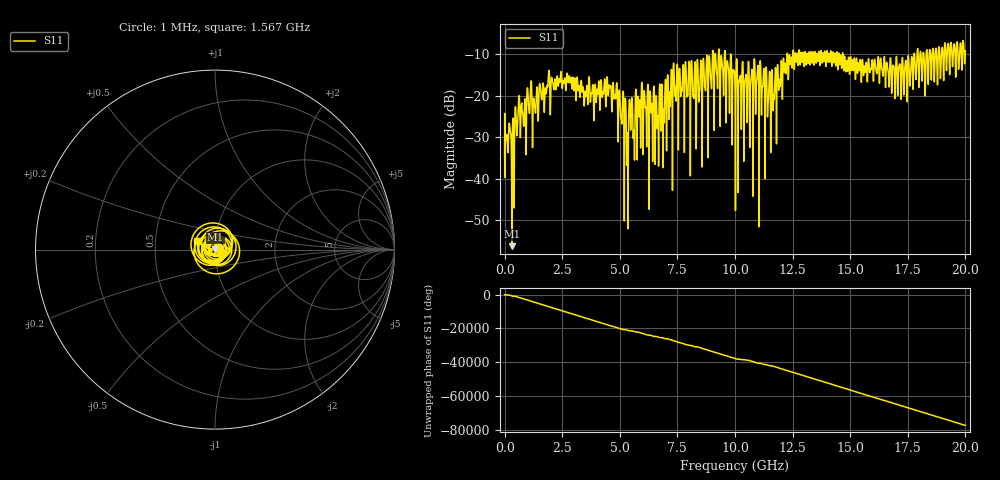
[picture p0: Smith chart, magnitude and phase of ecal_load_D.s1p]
! MS46122B
! 2250307/22442219
! 6/16/2025 7:44:25 AM
! C:\USERS\SPARKY\DOCUMENTS\VNA_DATA\JUNE16_2025\3.1K\ECAL_LOAD_D.S1P
! CHANNEL.1
! TR.MEASUREMENT
! RAW.DATA
# GHZ S RI R 50.0
! FREQ.GHZ  S11RE  S11IM
!; PortSelection: Port_1
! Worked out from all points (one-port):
!   10001 points, 1 MHz to 20 GHz, reference 50 ohm
!   lowest |S11| = -56.2 dB at 313 MHz (marker M1), VSWR 1.00, Z = 50.1 + j0.0665 ohm
!   |S11| at or under -10 dB: start of sweep to 9.024 GHz; 9.824 GHz to 12.26 GHz (2.436 GHz wide, 22.1 % of centre); 14.68 GHz to 17.77 GHz (3.089 GHz wide, 19 % of centre) (the widest 3 of 49)
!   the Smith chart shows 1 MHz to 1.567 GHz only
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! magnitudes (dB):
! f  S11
! 1 MHz  -34.9
! 313 MHz  -56.2
! 549 MHz  -28.2
! 855 MHz  -23.6
! 1.073 GHz  -24.2
! 1.283 GHz  -21.5
! 1.859 GHz  -17.5
! 2.501 GHz  -18.3
! 3.805 GHz  -18.5
! 4.521 GHz  -18.5
! 5.001 GHz  -20.1
! 5.185 GHz  -28.1
! 5.283 GHz  -29.0
! 5.477 GHz  -28.0
! 5.663 GHz  -23.6
! 6.025 GHz  -24.9
! 6.609 GHz  -24.7
! 7.501 GHz  -12.6
! 8.499 GHz  -14.1
! 9.225 GHz  -15.7
! 10 GHz  -17.9
! 10.46 GHz  -15.8
! 10.91 GHz  -18.9
! 11.48 GHz  -16.6
! 12.5 GHz  -10.9
! 15 GHz  -11.5
! 17.5 GHz  -11.8
! 20 GHz  -9.2
